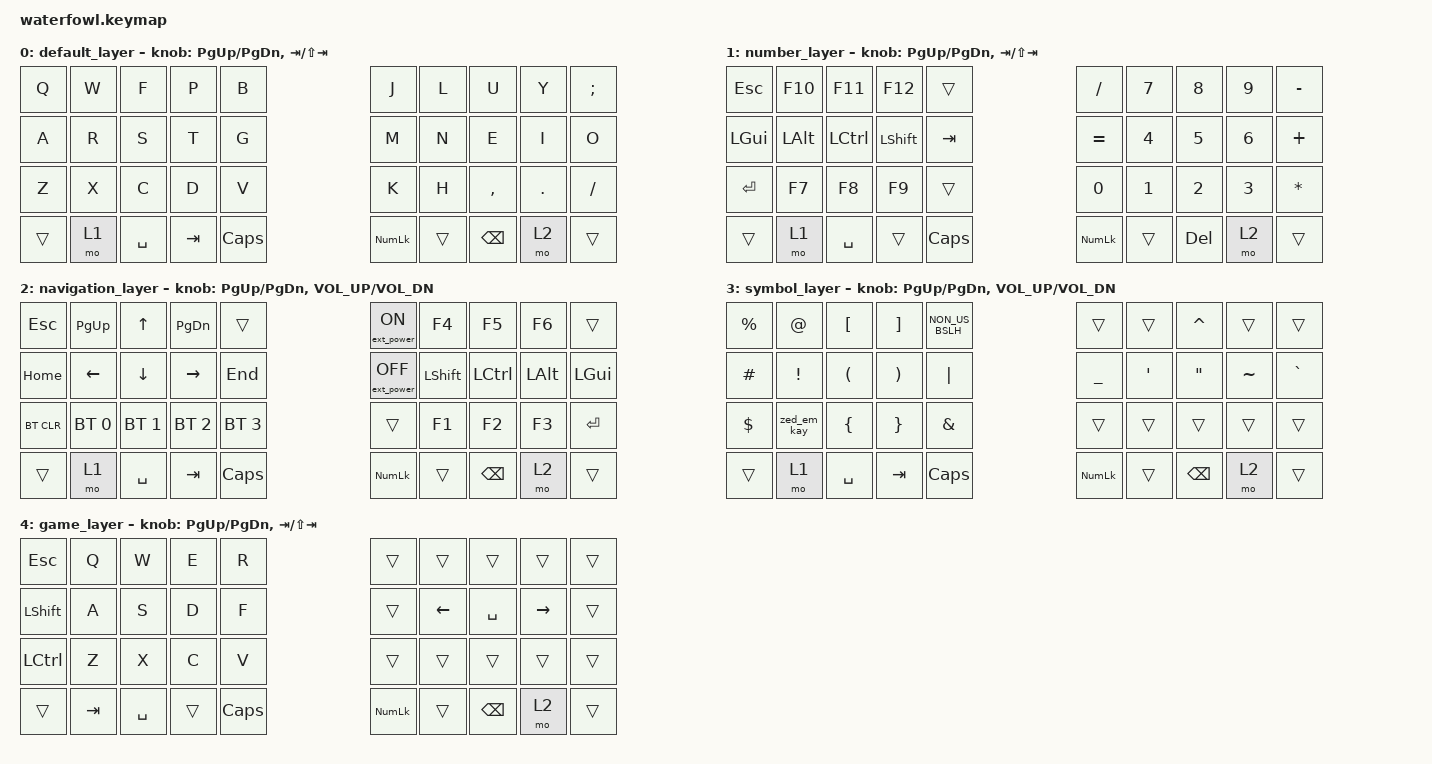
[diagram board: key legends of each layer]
 /*
 * Copyright (c) 2020 The ZMK Contributors
 *
 * SPDX-License-Identifier: MIT
 */

#include <behaviors.dtsi>
#include <dt-bindings/zmk/keys.h>
#include <dt-bindings/zmk/bt.h>
#include <dt-bindings/zmk/ext_power.h>

&lt { quick_tap_ms = <200>; };
/ {
	keymap {
		compatible = "zmk,keymap";

		default_layer {
/* Colemak-DH
 *
 * ,----------------------------------.                      ,----------------------------------.
 * |   Q  |   W  |   F  |   P  |   B  |                      |   J  |   L  |   U  |   Y  |   ;  |
 * |------+------+------+------+------|                      |------+------+------+------+------|
 * |   A  |   R  |   S  |   T  |   G  |                      |   M  |   N  |   E  |   I  |   O  |
 * |------+------+------+------+------|  ,-----.    ,-----.  |------+------+------+------+------|
 * |   Z  |   X  |   C  |   D  |   V  |  |CPSLK|    |NUMLK|  |   K  |   H  |   ,  |   .  |   /  |
 * `----------------------------------'  `-----'    `-----'  `----------------------------------'
 *          ,-----.   ,--------------------.            ,--------------------.   ,-----. 
 *          |  1  |   | NUM | SPACE | 	   |            |       | BS |  NAV  |   |  4  |
 *          `-----'   `--------------------'            `--------------------'   `-----'
 */
			bindings = <
	&kp Q		&kp W		&kp F			&kp P		&kp B									&kp J				&kp L		&kp U			&kp Y		&kp SEMI
	&kp A		&kp R		&kp S			&kp T		&kp G									&kp M				&kp N		&kp E			&kp I		&kp O
	&kp Z 	&kp X		&kp C			&kp D		&kp V									&kp K				&kp H		&kp COMMA	&kp DOT	&kp FSLH
	&trans	&mo 1		&kp SPACE	&kp TAB	&kp CLCK							&kp KP_NLCK	&trans	&kp BSPC	&mo 2		&trans
			>;

			sensor-bindings = <&inc_dec_kp PAGE_UP PAGE_DOWN &inc_dec_kp TAB LS(TAB)>;
		};

		number_layer {
/* NUM
 *
 * ,----------------------------------.                      ,----------------------------------.
 * |  ESC |  F10 |  F11 |  F12 |	  	|                      |   /  |   7  |   8  |   9  |   -  |
 * |------+------+------+------+------|                      |------+------+------+------+------|
 * |  GUI |  ALT | CTRL | SHIFT|  TAB |                      |   =  |   4  |   5  |   6  |   +  |
 * |------+------+------+------+------|  ,-----.    ,-----.  |------+------+------+------+------|
 * |  RET |  F7  |  F8  |  F9  |      |  |CPSLK|    |NUMLK|  |   0  |   1  |   2  |   3  |   *  |
 * `----------------------------------'  `-----'    `-----'  `----------------------------------'
 *          ,-----.   ,--------------------.            ,--------------------.   ,-----. 
 *          |  1  |   | NUM | SPACE |  	   |            |      | DEL |  NAV  |   |  4  |
 *          `-----'   `--------------------'            `--------------------'   `-----'
 */
			bindings = <
	&kp ESC		&kp F10		&kp F11		&kp F12			&trans				&kp FSLH		&kp N7	&kp N8	&kp N9	&kp MINUS
	&kp LGUI	&kp LALT	&kp LCTRL	&kp LSHIFT	&kp TAB				&kp EQUAL		&kp N4	&kp N5	&kp N6	&kp PLUS
	&kp RET		&kp F7		&kp F8		&kp F9			&trans				&kp N0			&kp N1	&kp N2	&kp N3	&kp ASTERISK
	&trans		&mo 1			&kp SPACE	&trans			&kp CLCK			&kp KP_NLCK	&trans	&kp DEL	&mo 2		&trans
			>;

			sensor-bindings = <&inc_dec_kp PAGE_UP PAGE_DOWN &inc_dec_kp TAB LS(TAB)>;
		};

		navigation_layer {
/* NAV
 *
 * ,----------------------------------.                      ,----------------------------------.
 * |  ESC | PgUp |  UP  | PgDn |      |                      | D_ON |  F4  |  F5  |  F6  |      |
 * |------+------+------+------+------|                      |------+------+------+------+------|
 * | Home | Left | Down | Right| End  |                      |D_OFF | SHIFT| CTRL |  ALT | WIN  |
 * |------+------+------+------+------|  ,-----.    ,-----.  |------+------+------+------+------|
 * | BTCLR| BT 0 | BT 1 | BT 2 | BT 3 |  |CPSLK|    |NUMLK|  |      |  F1  |  F2  |  F3  | RET  |
 * `----------------------------------'  `-----'    `-----'  `----------------------------------'
 *          ,-----.   ,--------------------.            ,--------------------.   ,-----. 
 *          |  1  |   | NUM | SPACE |      |            |       | BS |  NAV  |   |  4  |
 *          `-----'   `--------------------'            `--------------------'   `-----'
 */
			bindings = <
	&kp ESC			&kp PG_UP			&kp UP				&kp PG_DN			&trans							&ext_power EP_ON			&kp F4			&kp F5		&kp F6		&trans
	&kp HOME		&kp LEFT			&kp DOWN			&kp RIGHT			&kp END							&ext_power EP_OFF			&kp LSHIFT	&kp LCTRL	&kp LALT	&kp LGUI
	&bt BT_CLR	&bt BT_SEL 0	&bt BT_SEL 1	&bt BT_SEL 2	&bt BT_SEL 3				&trans			&kp F1			&kp F2		&kp F3		&kp RET
	&trans			&mo 1					&kp SPACE			&kp TAB				&kp CLCK						&kp KP_NLCK	&trans			&kp BSPC	&mo 2			&trans
			>;

			sensor-bindings = <&inc_dec_kp PAGE_UP PAGE_DOWN &inc_dec_kp C_VOL_UP C_VOL_DN>;
		};

		symbol_layer {
/* SYM
 *
 * ,----------------------------------.                      ,----------------------------------.
 * |   %  |   @  |   [  |   ]  |   \  |                      |       |     |   ^  |      |      |
 * |------+------+------+------+------|                      |------+------+------+------+------|
 * |   #  |   !  |   (  |   )  |   |  |                      |   _  |   '  |   "  |   ~  |   `  |
 * |------+------+------+------+------|  ,-----.    ,-----.  |------+------+------+------+------|
 * |   $  |      |   {  |   }  |   &  |  |CPSLK|    |NUMLK|  |      |      |      |      |      |
 * `----------------------------------'  `-----'    `-----'  `----------------------------------'
 *          ,-----.   ,--------------------.            ,--------------------.   ,-----. 
 *          |  1  |   | NUM | SPACE |      |            |       | BS |  NAV  |   |  4  |
 *          `-----'   `--------------------'            `--------------------'   `-----'
 */
			bindings = <
	&kp PRCNT	&kp AT		&kp LBKT	&kp RBKT	&kp NON_US_BSLH			&trans			&trans		&kp CARET					&trans		&trans
	&kp HASH	&kp EXCL	&kp LPAR	&kp RPAR	&kp PIPE						&kp UNDER		&kp APOS	&kp DOUBLE_QUOTES	&kp TILDE	&kp GRAVE
	&kp DLLR	&zed_em_kay		&kp LBRC	&kp RBRC	&kp AMPS						&trans			&trans		&trans						&trans		&trans
	&trans		&mo 1			&kp SPACE	&kp TAB		&kp CLCK						&kp KP_NLCK	&trans		&kp BSPC					&mo 2		&trans
			>;

			sensor-bindings = <&inc_dec_kp PAGE_UP PAGE_DOWN &inc_dec_kp C_VOL_UP C_VOL_DN>;
		};

		game_layer {
/* GAME
 *
 * ,----------------------------------.                      ,----------------------------------.
 * |  ESC |   Q  |   W  |   E  |   R  |                      |      |      |      |      |      |
 * |------+------+------+------+------|                      |------+------+------+------+------|
 * |Shift |   A  |   S  |   D  |   F  |                      |      |      |      |      |      |
 * |------+------+------+------+------|  ,-----.    ,-----.  |------+------+------+------+------|
 * | Ctrl |   Z  |   X  |   C  |   V  |  |CPSLK|    |NUMLK|  |      |      |      |      |      |
 * `----------------------------------'  `-----'    `-----'  `----------------------------------'
 *          ,-----.   ,--------------------.            ,--------------------.   ,-----. 
 *          |  1  |   |  TAB  | SPACE |    |            |       | BS |       |   |  4  |
 *          `-----'   `--------------------'            `--------------------'   `-----'
 */
			bindings = <
	&kp ESC		&kp Q		&kp W			&kp E		&kp R							&trans			&trans		&trans		&trans		&trans
	&kp LSHFT	&kp A		&kp S			&kp D		&kp F							&trans			&kp LEFT	&kp SPACE	&kp RIGHT	&trans
	&kp LCTRL	&kp Z		&kp X			&kp C		&kp V							&trans			&trans		&trans		&trans		&trans
	&trans		&kp TAB	&kp SPACE	&trans	&kp CLCK					&kp KP_NLCK	&trans		&kp BSPC	&mo 2			&trans
			>;

			sensor-bindings = <&inc_dec_kp PAGE_UP PAGE_DOWN &inc_dec_kp TAB LS(TAB)>;
		};	

	};
};

/ {
    conditional_layers {
        compatible = "zmk,conditional-layers";
        tri_layer {
            if-layers = <1 2>;
            then-layer = <3>;
        };
    };
};

/ {
    combos {
        compatible = "zmk,combos";
        combo_game {
            timeout-ms = <50>;
            key-positions = <0 4>;
            bindings = <&to 4>;
        };
				combo_base {
            timeout-ms = <50>;
            key-positions = <5 9>;
            bindings = <&to 0>;
        };
    };
};

/ {
    macros {
        zed_em_kay: zed_em_kay {
            label = "ZM_zed_em_kay";
            compatible = "zmk,behavior-macro";
            #binding-cells = <0>;
            wait-ms = <40>;
			tap-ms = <40>;
			bindings
				= <&macro_press   &kp LALT>
				, <&macro_tap     &kp KP_N0 &kp KP_N1 &kp KP_N6 &kp KP_N3>
				, <&macro_release &kp LALT>
				;
        };
    };
};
